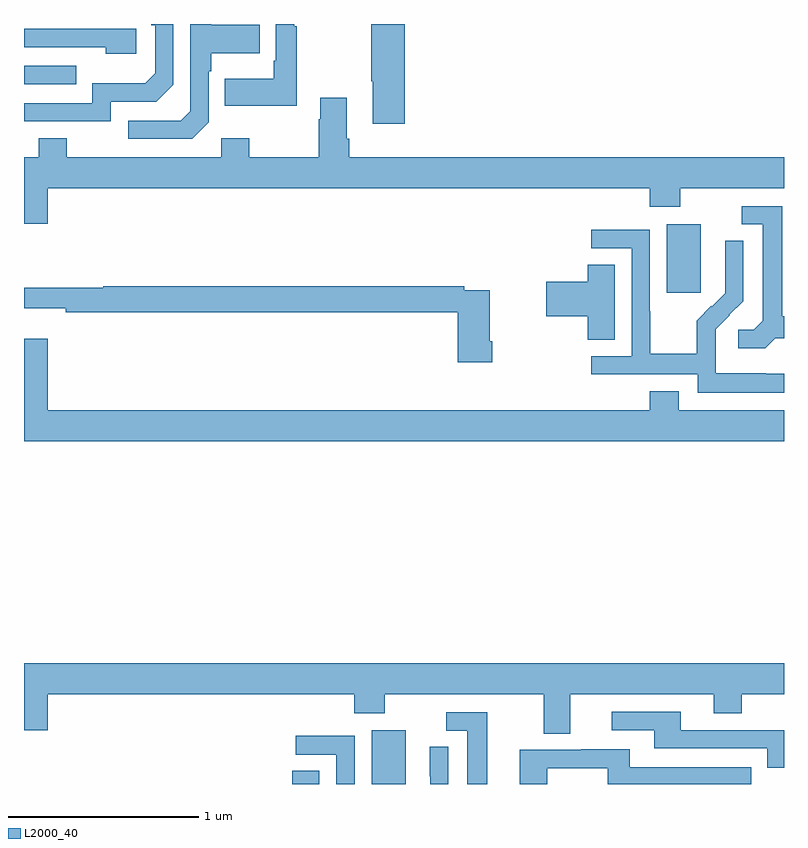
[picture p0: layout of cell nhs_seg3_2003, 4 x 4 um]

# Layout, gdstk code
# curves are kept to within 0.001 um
import gdstk
lib = gdstk.Library(unit=1e-6, precision=1e-09)
def R(c, l, rs):  # rectangles x0, y0, x1, y1
    for r in rs: c.add(gdstk.rectangle(r[:2], r[2:], *l))
def P(c, l, *ps):  # polygons
    for p in ps: c.add(gdstk.Polygon(p, *l))
L2000_40 = (2000, 40)

nhs_seg3_2003 = lib.new_cell('nhs_seg3_2003')
R(nhs_seg3_2003, L2000_40, [(214.412,744.4,214.555,744.47), (214.829,744.4,215.008,744.682), (216.383,746.985,216.562,747.346), (213,748.083,213.275,748.179)])
P(nhs_seg3_2003, L2000_40, [(214.435,748.387),(214.423,748.387),(214.423,748.4),(214.326,748.4),(214.326,748.207),(214.314,748.207),(214.314,748.111),(214.057,748.111),(214.057,747.971),(214.435,747.971)],
  [(213.972,747.882),(213.972,748.151),(213.985,748.151),(213.985,748.247),(214.241,748.247),(214.241,748.395),(213.985,748.395),(213.985,748.4),(213.876,748.4),(213.876,747.942),(213.825,747.891),(213.549,747.891),(213.549,747.795),(213.885,747.795)],
  [(213.456,747.99),(213.696,747.99),(213.786,748.08),(213.786,748.4),(213.67,748.4),(213.67,748.394),(213.69,748.394),(213.69,748.14),(213.637,748.087),(213.36,748.087),(213.36,747.984),(213,747.984),(213,747.888),(213.456,747.888)],
  [(215.003,748.4),(214.828,748.4),(214.828,748.099),(214.835,748.099),(214.835,747.876),(215.003,747.876)],
  [(213.592,748.374),(213,748.374),(213,748.278),(213.431,748.278),(213.431,748.244),(213.592,748.244)],
  [(213.124,747.536),(216.293,747.536),(216.293,747.437),(216.453,747.437),(216.453,747.536),(217,747.536),(217,747.7),(214.712,747.7),(214.712,747.796),(214.699,747.796),(214.699,748.012),(214.559,748.012),(214.559,747.899),(214.552,747.899),(214.552,747.7),(214.185,747.7),(214.185,747.799),(214.038,747.799),(214.038,747.7),(213.225,747.7),(213.225,747.799),(213.077,747.799),(213.077,747.7),(213,747.7),(213,747.348),(213.124,747.348)],
  [(216.954,746.745),(217,746.745),(217,746.861),(216.991,746.861),(216.991,747.441),(216.777,747.441),(216.777,747.345),(216.887,747.345),(216.887,746.837),(216.84,746.79),(216.759,746.79),(216.759,746.693),(216.902,746.693)],
  [(217,746.559),(216.905,746.559),(216.905,746.563),(216.642,746.563),(216.642,746.697),(216.64,746.697),(216.64,746.794),(216.786,746.942),(216.786,747.26),(216.69,747.26),(216.69,747.106),(216.692,747.106),(216.692,746.984),(216.621,746.913),(216.618,746.916),(216.541,746.839),(216.541,746.665),(216.297,746.665),(216.297,746.888),(216.294,746.888),(216.294,747.318),(215.985,747.318),(215.985,747.219),(216.198,747.219),(216.198,746.652),(215.985,746.652),(215.985,746.556),(216.546,746.556),(216.546,746.459),(217,746.459)],
  [(216.109,747.134),(215.966,747.134),(215.966,747.044),(215.748,747.044),(215.748,746.861),(215.966,746.861),(215.966,746.737),(216.109,746.737)],
  [(215.465,746.731),(215.452,746.731),(215.452,747),(215.318,747),(215.318,747.02),(213.418,747.02),(213.418,747.013),(213,747.013),(213,746.903),(213.22,746.903),(213.22,746.884),(215.282,746.884),(215.282,746.619),(215.465,746.619)],
  [(217,746.368),(216.445,746.368),(216.445,746.467),(216.293,746.467),(216.293,746.368),(213.124,746.368),(213.124,746.743),(213,746.743),(213,746.204),(217,746.204)],
  [(215.875,744.872),(216.629,744.872),(216.629,744.773),(216.777,744.773),(216.777,744.872),(217,744.872),(217,745.036),(213,745.036),(213,744.684),(213.124,744.684),(213.124,744.872),(214.739,744.872),(214.739,744.773),(214.899,744.773),(214.899,744.872),(215.735,744.872),(215.735,744.664),(215.875,744.664)],
  [(217,744.684),(216.457,744.684),(216.457,744.78),(216.093,744.78),(216.093,744.684),(216.317,744.684),(216.317,744.588),(216.912,744.588),(216.912,744.485),(217,744.485)],
  [(215.437,744.777),(215.223,744.777),(215.223,744.681),(215.333,744.681),(215.333,744.4),(215.437,744.4)],
  [(214.74,744.654),(214.431,744.654),(214.431,744.555),(214.644,744.555),(214.644,744.4),(214.74,744.4)],
  [(215.232,744.596),(215.136,744.596),(215.136,744.442),(215.138,744.442),(215.138,744.4),(215.232,744.4)],
  [(215.754,744.483),(216.072,744.483),(216.072,744.4),(216.827,744.4),(216.827,744.489),(216.187,744.489),(216.187,744.583),(215.933,744.583),(215.933,744.579),(215.609,744.579),(215.609,744.4),(215.754,744.4)])

lib.write_gds('nhs_seg3_2003.gds')
